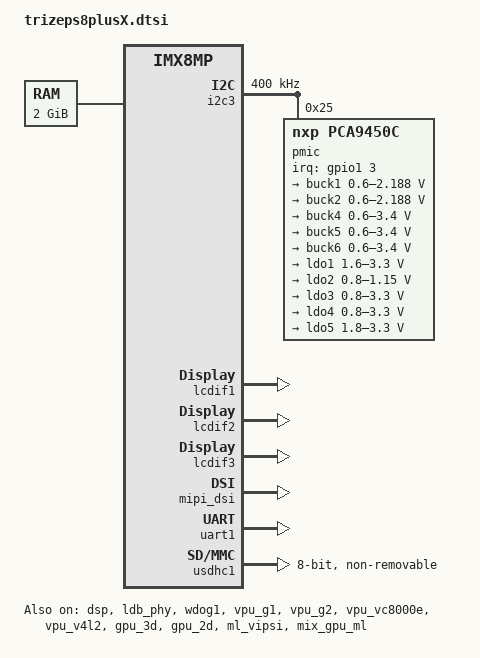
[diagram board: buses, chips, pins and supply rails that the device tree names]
/*
 * Copyright 2021 Keith & Koep GmbH
 */

/*
Switches:
    
    ETHERNET_ONLY_100MBIT		Reduce Ethernet to 100MBit in case extra lanes for 1GBit are not connected on the baseboard.

 
*/

#include "imx8mp.dtsi"
#include "trizeps8plus-pinfunc.h"

/ {
	memory@40000000 {
		device_type = "memory";
		reg = <0x0 0x40000000 0 0x80000000>;
	};

};

&A53_0 {
	cpu-supply = <&buck2>;
};

&A53_1 {
	cpu-supply = <&buck2>;
};

&A53_2 {
	cpu-supply = <&buck2>;
};

&A53_3 {
	cpu-supply = <&buck2>;
};

&dsp {
	status = "okay";
};


&i2c3 {
	clock-frequency = <400000>;
	pinctrl-names = "default";
	pinctrl-0 = <&pinctrl_i2c3>;
	status = "okay";

	pmic: pca9450@25 {
		reg = <0x25>;
		compatible = "nxp,pca9450c";

		/* PMIC PCA9450 PMIC_nINT GPIO1_IO3 */
		pinctrl-0 = <&pinctrl_pmic>;
		interrupt-parent = <&gpio1>;
		interrupts = <3 GPIO_ACTIVE_LOW>;


		regulators {
			buck1: BUCK1 {
				regulator-name = "BUCK1";
				regulator-min-microvolt = <600000>;
				regulator-max-microvolt = <2187500>;
				regulator-boot-on;
				regulator-always-on;
				regulator-ramp-delay = <3125>;
			};

			buck2: BUCK2 {
				regulator-name = "BUCK2";
				regulator-min-microvolt = <600000>;
				regulator-max-microvolt = <2187500>;
				regulator-boot-on;
				regulator-always-on;
				regulator-ramp-delay = <3125>;
				nxp,dvs-run-voltage = <950000>;
				nxp,dvs-standby-voltage = <850000>;
			};

			buck4: BUCK4{
				regulator-name = "BUCK4";
				regulator-min-microvolt = <600000>;
				regulator-max-microvolt = <3400000>;
				regulator-boot-on;
				regulator-always-on;
			};

			buck5: BUCK5{
				regulator-name = "BUCK5";
				regulator-min-microvolt = <600000>;
				regulator-max-microvolt = <3400000>;
				regulator-boot-on;
				regulator-always-on;
			};

			buck6: BUCK6 {
				regulator-name = "BUCK6";
				regulator-min-microvolt = <600000>;
				regulator-max-microvolt = <3400000>;
				regulator-boot-on;
				regulator-always-on;
			};

			ldo1: LDO1 {
				regulator-name = "LDO1";
				regulator-min-microvolt = <1600000>;
				regulator-max-microvolt = <3300000>;
				regulator-boot-on;
				regulator-always-on;
			};

			ldo2: LDO2 {
				regulator-name = "LDO2";
				regulator-min-microvolt = <800000>;
				regulator-max-microvolt = <1150000>;
				regulator-boot-on;
				regulator-always-on;
			};

			ldo3: LDO3 {
				regulator-name = "LDO3";
				regulator-min-microvolt = <800000>;
				regulator-max-microvolt = <3300000>;
				regulator-boot-on;
				regulator-always-on;
			};

			ldo4: LDO4 {
				regulator-name = "LDO4";
				regulator-min-microvolt = <800000>;
				regulator-max-microvolt = <3300000>;
				regulator-boot-on;
				regulator-always-on;
			};

			ldo5: LDO5 {
				regulator-name = "LDO5";
				regulator-min-microvolt = <1800000>;
				regulator-max-microvolt = <3300000>;
				regulator-boot-on;
				regulator-always-on;
			};
		};
	};
};


&lcdif1 {
	status = "okay";
};

&lcdif2 {
	status = "okay";
};

&lcdif3 {
	status = "okay";

	thres-low  = <1 2>;             /* (FIFO * 1 / 2) */
	thres-high = <3 4>;             /* (FIFO * 3 / 4) */
};

&ldb_phy {
	status = "okay";
};

&mipi_dsi {
	status = "okay";
};

&snvs_pwrkey {
	status = "disabled";
};


&uart1 {
	pinctrl-names = "default";
	pinctrl-0 = <&pinctrl_uart1>;
	assigned-clocks = <&clk IMX8MP_CLK_UART1>;
	assigned-clock-parents = <&clk IMX8MP_SYS_PLL1_80M>;
	status = "okay";
};

&usdhc1 {
	assigned-clocks = <&clk IMX8MP_CLK_USDHC1>;
	assigned-clock-rates = <400000000>;
	pinctrl-names = "default", "state_100mhz", "state_200mhz";
	pinctrl-0 = <&pinctrl_usdhc1>;
	pinctrl-1 = <&pinctrl_usdhc1_100mhz>;
	pinctrl-2 = <&pinctrl_usdhc1_200mhz>;
	bus-width = <8>;
	non-removable;
	status = "okay";
};

&wdog1 {
	pinctrl-names = "default";
	pinctrl-0 = <&pinctrl_wdog>;
	fsl,ext-reset-output;
	status = "okay";
};

&iomuxc {
	pinctrl-names = "default";

	pinctrl_pmic: pmicirq {
		fsl,pins = <
			MX8MP_IOMUXC_GPIO1_IO03__GPIO1_IO03	0x41
		>;
	};

	pinctrl_i2c3: i2c3grp {
		fsl,pins = <
			MX8MP_IOMUXC_I2C3_SCL__I2C3_SCL		0x400001c3
			MX8MP_IOMUXC_I2C3_SDA__I2C3_SDA		0x400001c3
		>;
	};

	pinctrl_uart1: uart1grp {
		fsl,pins = <
			MX8MP_IOMUXC_UART1_RXD__UART1_DCE_RX	0x140
			MX8MP_IOMUXC_UART1_TXD__UART1_DCE_TX	0x140
		>;
	};

	pinctrl_usdhc1: usdhc1grp {
		fsl,pins = <
			MX8MP_IOMUXC_SD1_CLK__USDHC1_CLK			0x40000190
			MX8MP_IOMUXC_SD1_CMD__USDHC1_CMD			0x1d0
			MX8MP_IOMUXC_SD1_DATA0__USDHC1_DATA0		0x1d0
			MX8MP_IOMUXC_SD1_DATA1__USDHC1_DATA1		0x1d0
			MX8MP_IOMUXC_SD1_DATA2__USDHC1_DATA2		0x1d0
			MX8MP_IOMUXC_SD1_DATA3__USDHC1_DATA3		0x1d0
			MX8MP_IOMUXC_SD1_DATA4__USDHC1_DATA4		0x1d0
			MX8MP_IOMUXC_SD1_DATA5__USDHC1_DATA5		0x1d0
			MX8MP_IOMUXC_SD1_DATA6__USDHC1_DATA6		0x1d0
			MX8MP_IOMUXC_SD1_DATA7__USDHC1_DATA7		0x1d0
			MX8MP_IOMUXC_SD1_STROBE__USDHC1_STROBE 		0x190
			MX8MP_IOMUXC_SD1_RESET_B__USDHC1_RESET_B		0xc1
		>;
	};

	pinctrl_usdhc1_100mhz: usdhc1grp100mhz {
		fsl,pins = <
			MX8MP_IOMUXC_SD1_CLK__USDHC1_CLK			0x40000194
			MX8MP_IOMUXC_SD1_CMD__USDHC1_CMD			0x1d4
			MX8MP_IOMUXC_SD1_DATA0__USDHC1_DATA0		0x1d4
			MX8MP_IOMUXC_SD1_DATA1__USDHC1_DATA1		0x1d4
			MX8MP_IOMUXC_SD1_DATA2__USDHC1_DATA2		0x1d4
			MX8MP_IOMUXC_SD1_DATA3__USDHC1_DATA3		0x1d4
			MX8MP_IOMUXC_SD1_DATA4__USDHC1_DATA4		0x1d4
			MX8MP_IOMUXC_SD1_DATA5__USDHC1_DATA5		0x1d4
			MX8MP_IOMUXC_SD1_DATA6__USDHC1_DATA6		0x1d4
			MX8MP_IOMUXC_SD1_DATA7__USDHC1_DATA7		0x1d4
			MX8MP_IOMUXC_SD1_STROBE__USDHC1_STROBE 		0x194
			MX8MP_IOMUXC_SD1_RESET_B__USDHC1_RESET_B		0xc1
		>;
	};

	pinctrl_usdhc1_200mhz: usdhc1grp200mhz {
		fsl,pins = <
			MX8MP_IOMUXC_SD1_CLK__USDHC1_CLK			0x40000196
			MX8MP_IOMUXC_SD1_CMD__USDHC1_CMD			0x1d6
			MX8MP_IOMUXC_SD1_DATA0__USDHC1_DATA0		0x1d6
			MX8MP_IOMUXC_SD1_DATA1__USDHC1_DATA1		0x1d6
			MX8MP_IOMUXC_SD1_DATA2__USDHC1_DATA2		0x1d6
			MX8MP_IOMUXC_SD1_DATA3__USDHC1_DATA3		0x1d6
			MX8MP_IOMUXC_SD1_DATA4__USDHC1_DATA4		0x1d6
			MX8MP_IOMUXC_SD1_DATA5__USDHC1_DATA5		0x1d6
			MX8MP_IOMUXC_SD1_DATA6__USDHC1_DATA6		0x1d6
			MX8MP_IOMUXC_SD1_DATA7__USDHC1_DATA7		0x1d6
			MX8MP_IOMUXC_SD1_STROBE__USDHC1_STROBE 		0x196
			MX8MP_IOMUXC_SD1_RESET_B__USDHC1_RESET_B		0xc1
		>;
	};

	pinctrl_wdog: wdoggrp {
		fsl,pins = <
			MX8MP_IOMUXC_GPIO1_IO02__WDOG1_WDOG_B	0xc6
		>;
	};
};

&vpu_g1 {
	status = "okay";
};

&vpu_g2 {
	status = "okay";
};

&vpu_vc8000e {
	status = "okay";
};

&vpu_v4l2 {
	status = "okay";
};

&gpu_3d {
	status = "okay";
};

&gpu_2d {
	status = "okay";
};

&ml_vipsi {
	status = "okay";
};

&mix_gpu_ml {
	status = "okay";
};

